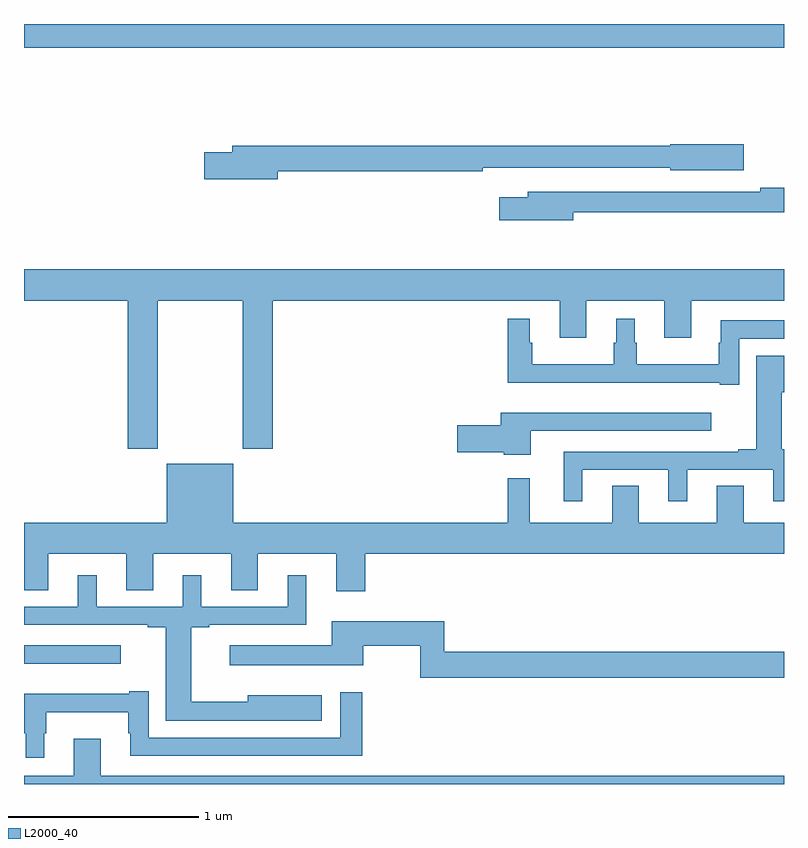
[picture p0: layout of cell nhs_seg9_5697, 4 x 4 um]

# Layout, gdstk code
import gdstk
lib = gdstk.Library(unit=1e-6, precision=1e-09)
def R(c, l, rs):  # rectangles x0, y0, x1, y1
    for r in rs: c.add(gdstk.rectangle(r[:2], r[2:], *l))
def P(c, l, *ps):  # polygons
    for p in ps: c.add(gdstk.Polygon(p, *l))
L2000_40 = (2000, 40)

nhs_seg9_5697 = lib.new_cell('nhs_seg9_5697')
R(nhs_seg9_5697, L2000_40, [(441,1237.133,441.508,1237.23), (441,1240.376,445,1240.5)])
P(nhs_seg9_5697, L2000_40, [(442.336,1239.724),(443.414,1239.724),(443.414,1239.744),(444.402,1239.744),(444.402,1239.731),(444.787,1239.731),(444.787,1239.866),(444.402,1239.866),(444.402,1239.86),(442.097,1239.86),(442.097,1239.824),(441.948,1239.824),(441.948,1239.682),(442.336,1239.682)],
  [(443.89,1239.51),(445,1239.51),(445,1239.638),(444.874,1239.638),(444.874,1239.618),(443.651,1239.618),(443.651,1239.589),(443.502,1239.589),(443.502,1239.467),(443.89,1239.467)],
  [(441.705,1239.044),(442.15,1239.044),(442.15,1238.265),(442.31,1238.265),(442.31,1239.044),(443.819,1239.044),(443.819,1238.85),(443.959,1238.85),(443.959,1239.044),(444.371,1239.044),(444.371,1238.85),(444.511,1238.85),(444.511,1239.044),(445,1239.044),(445,1239.208),(441,1239.208),(441,1239.044),(441.545,1239.044),(441.545,1238.265),(441.705,1238.265)],
  [(444.765,1238.844),(445,1238.844),(445,1238.94),(444.668,1238.94),(444.668,1238.822),(444.657,1238.822),(444.657,1238.71),(444.226,1238.71),(444.226,1238.822),(444.214,1238.822),(444.214,1238.95),(444.116,1238.95),(444.116,1238.822),(444.105,1238.822),(444.105,1238.71),(443.674,1238.71),(443.674,1238.822),(443.662,1238.822),(443.662,1238.95),(443.545,1238.95),(443.545,1238.612),(444.662,1238.612),(444.662,1238.601),(444.765,1238.601)],
  [(443.938,1238.154),(444.392,1238.154),(444.392,1237.989),(444.49,1237.989),(444.49,1238.154),(444.944,1238.154),(444.944,1237.989),(445,1237.989),(445,1238.263),(444.988,1238.263),(444.988,1238.561),(445,1238.561),(445,1238.754),(444.854,1238.754),(444.854,1238.263),(444.758,1238.263),(444.758,1238.25),(443.84,1238.25),(443.84,1237.989),(443.938,1237.989)],
  [(443.668,1238.358),(444.616,1238.358),(444.616,1238.455),(443.51,1238.455),(443.51,1238.387),(443.28,1238.387),(443.28,1238.245),(443.526,1238.245),(443.526,1238.234),(443.668,1238.234)],
  [(442.796,1237.712),(445,1237.712),(445,1237.876),(444.787,1237.876),(444.787,1238.069),(444.647,1238.069),(444.647,1237.876),(444.235,1237.876),(444.235,1238.069),(444.095,1238.069),(444.095,1237.876),(443.663,1237.876),(443.663,1238.11),(443.545,1238.11),(443.545,1237.876),(442.102,1237.876),(442.102,1238.185),(441.752,1238.185),(441.752,1237.876),(441,1237.876),(441,1237.519),(441.127,1237.519),(441.127,1237.712),(441.539,1237.712),(441.539,1237.519),(441.679,1237.519),(441.679,1237.712),(442.091,1237.712),(442.091,1237.519),(442.231,1237.519),(442.231,1237.712),(442.643,1237.712),(442.643,1237.515),(442.796,1237.515)],
  [(442.567,1236.967),(442.178,1236.967),(442.178,1236.932),(441.88,1236.932),(441.88,1237.326),(441.976,1237.326),(441.976,1237.338),(442.486,1237.338),(442.486,1237.6),(442.388,1237.6),(442.388,1237.434),(441.934,1237.434),(441.934,1237.6),(441.836,1237.6),(441.836,1237.434),(441.382,1237.434),(441.382,1237.6),(441.284,1237.6),(441.284,1237.434),(441,1237.434),(441,1237.338),(441.65,1237.338),(441.65,1237.326),(441.746,1237.326),(441.746,1236.834),(442.282,1236.834),(442.282,1236.833),(442.567,1236.833)],
  [(445,1237.196),(443.213,1237.196),(443.213,1237.357),(442.619,1237.357),(442.619,1237.231),(442.083,1237.231),(442.083,1237.124),(442.786,1237.124),(442.786,1237.228),(443.085,1237.228),(443.085,1237.06),(445,1237.06)],
  [(441.106,1236.767),(441.118,1236.767),(441.118,1236.878),(441.549,1236.878),(441.549,1236.767),(441.56,1236.767),(441.56,1236.648),(442.781,1236.648),(442.781,1236.982),(442.665,1236.982),(442.665,1236.744),(441.657,1236.744),(441.657,1236.988),(441.554,1236.988),(441.554,1236.976),(441,1236.976),(441,1236.767),(441.008,1236.767),(441.008,1236.639),(441.106,1236.639)],
  [(445,1236.544),(441.403,1236.544),(441.403,1236.739),(441.263,1236.739),(441.263,1236.544),(441,1236.544),(441,1236.5),(445,1236.5)])

lib.write_gds('nhs_seg9_5697.gds')
